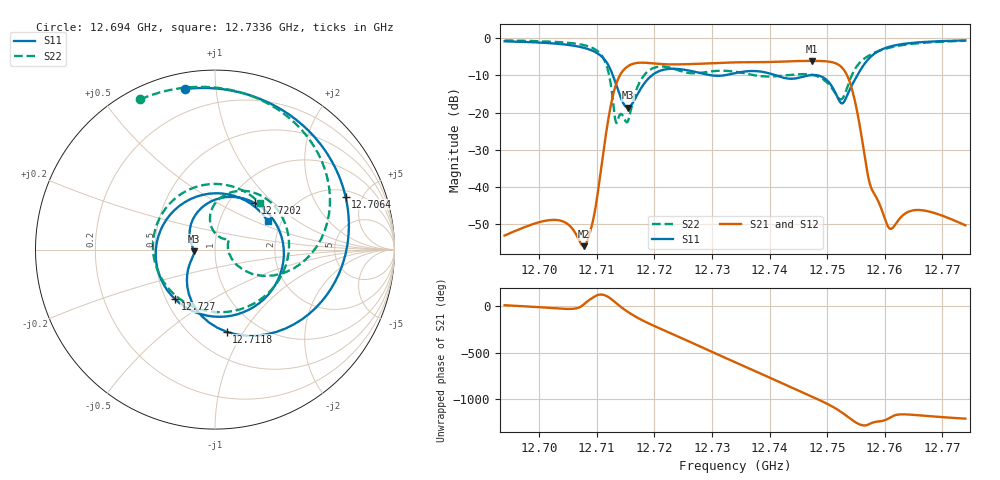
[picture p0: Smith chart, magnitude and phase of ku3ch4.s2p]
#  HZ  S  RI  R  50.00
! Rohde & Schwarz ZVA50 2Ports - Version 3.70 - 1145.1110k50 SN: 100192
! Date: 2025-10-24 10:32:52
! Measurements: S11 S21 S12 S22
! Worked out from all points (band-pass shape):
!   401 points, 12.694 GHz to 12.774 GHz, reference 50 ohm
!   highest |S21| = -6.09 dB at 12.7474 GHz (marker M1); lowest = -56.0 dB at 12.7078 GHz (marker M2)
!   |S21| within 3 dB of the highest: 12.71438 GHz to 12.75315 GHz (38.77 MHz wide, 0.304 % of centre)
!   lowest |S11| = -18.7 dB at 12.7154 GHz (marker M3), VSWR 1.26, Z = 39.6 - j0.844 ohm
!   |S11| at or under -10 dB: 12.7128 GHz to 12.71956 GHz (6.762 MHz wide, 0.0532 % of centre); 12.74113 GHz to 12.74679 GHz (5.659 MHz wide, 0.0444 % of centre); 12.74841 GHz to 12.75523 GHz (6.827 MHz wide, 0.0535 % of centre)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
!   |S22| runs from -22.8 to -0.6 dB; largest |S21 - S12| = 0.00019
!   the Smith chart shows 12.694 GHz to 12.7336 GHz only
!   S11 on the Smith chart (normalised r, x): 12.694 GHz: 0.08, +0.83; 12.7064 GHz: 2.38, +3.66; 12.7118 GHz: 0.73, -0.85; 12.7202 GHz: 1.32, +0.77; 12.727 GHz: 0.56, -0.35; 12.7336 GHz: 1.70, +0.60
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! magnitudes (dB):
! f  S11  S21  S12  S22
! 12.694 GHz  -0.8  -53.1  -53.1  -0.6
! 12.7024 GHz  -1.4  -48.9  -48.8  -0.9
! 12.7064 GHz  -2.1  -52.8  -52.7  -1.4
! 12.7074 GHz  -2.4  -55.6  -55.6  -1.7
! 12.7078 GHz  -2.6  -56.0  -55.9  -1.8
! 12.7096 GHz  -3.6  -47.2  -47.1  -2.9
! 12.7118 GHz  -6.7  -23.7  -23.7  -7.8
! 12.7134 GHz  -12.6  -12.2  -12.2  -22.8
! 12.7154 GHz  -18.7  -7.5  -7.5  -22.4
! 12.7176 GHz  -13.7  -6.6  -6.6  -11.4
! 12.7202 GHz  -9.3  -6.8  -6.8  -7.8
! 12.7208 GHz  -8.9  -6.9  -6.9  -7.6
! 12.727 GHz  -9.0  -6.9  -6.9  -9.4
! 12.7336 GHz  -9.5  -6.5  -6.5  -8.9
! 12.734 GHz  -9.4  -6.5  -6.5  -9.0
! 12.7474 GHz  -9.9  -6.1  -6.1  -9.8
! 12.7522 GHz  -17.1  -7.4  -7.4  -16.4
! 12.7534 GHz  -15.6  -9.8  -9.8  -13.6
! 12.7574 GHz  -5.2  -39.1  -39.1  -4.5
! 12.7608 GHz  -2.3  -51.2  -51.2  -2.5
! 12.7656 GHz  -1.1  -46.2  -46.2  -1.4
! 12.774 GHz  -0.6  -50.3  -50.3  -0.7
